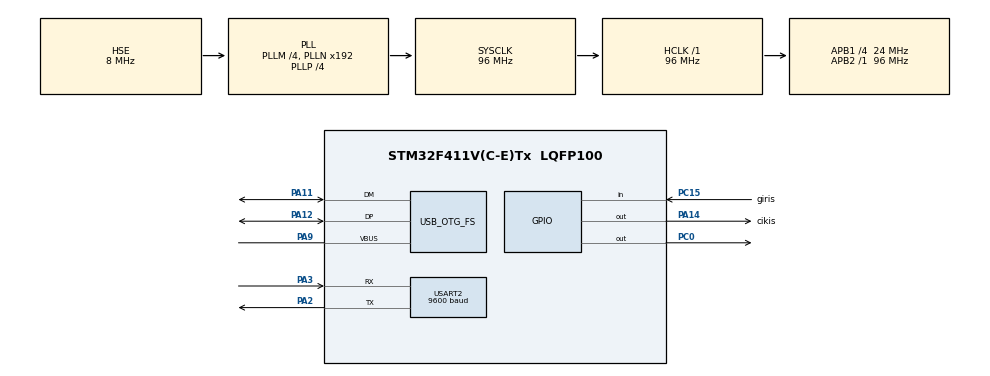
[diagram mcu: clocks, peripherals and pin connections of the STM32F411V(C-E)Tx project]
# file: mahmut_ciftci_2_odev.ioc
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FATFS._FS_EXFAT=1
FATFS._MAX_SS=4096
FATFS._USE_LFN=1
Mcu.Family=STM32F4
Mcu.Name=STM32F411V(C-E)Tx
Mcu.Package=LQFP100
NVIC.OTG_FS_IRQn=true\:0\:0\:false\:false\:true\:true\:true
NVIC.PriorityGroup=NVIC_PRIORITYGROUP_0
PA11.Mode=Host_Only
PA11.Signal=USB_OTG_FS_DM
PA12.Mode=Host_Only
PA12.Signal=USB_OTG_FS_DP
PA14.GPIO_Label=cikis
PA14.Signal=GPIO_Output
PA2.Mode=Asynchronous
PA2.Signal=USART2_TX
PA3.Mode=Asynchronous
PA3.Signal=USART2_RX
PA9.Mode=Activate_VBUS
PA9.Signal=USB_OTG_FS_VBUS
PC0.Signal=GPIO_Output
PC15-OSC32_OUT.GPIO_Label=giris
PC15-OSC32_OUT.Signal=GPIO_Input
PH0\ -\ OSC_IN.Mode=HSE-External-Oscillator
PH0\ -\ OSC_IN.Signal=RCC_OSC_IN
PH1\ -\ OSC_OUT.Mode=HSE-External-Oscillator
PH1\ -\ OSC_OUT.Signal=RCC_OSC_OUT
ProjectManager.HeapSize=0x200
ProjectManager.StackSize=0x400
ProjectManager.TargetToolchain=STM32CubeIDE
RCC.48MHZClocksFreq_Value=48000000
RCC.AHBFreq_Value=96000000
RCC.APB1CLKDivider=RCC_HCLK_DIV4
RCC.APB1Freq_Value=24000000
RCC.APB1TimFreq_Value=48000000
RCC.APB2Freq_Value=96000000
RCC.APB2TimFreq_Value=96000000
RCC.CortexFreq_Value=96000000
RCC.HCLKFreq_Value=96000000
RCC.HSE_VALUE=8000000
RCC.HSI_VALUE=16000000
RCC.PLLI2SM=5
RCC.PLLI2SN=200
RCC.PLLM=4
RCC.PLLP=RCC_PLLP_DIV4
RCC.PLLQ=8
RCC.SYSCLKFreq_VALUE=96000000
RCC.SYSCLKSource=RCC_SYSCLKSOURCE_PLLCLK
RCC.VCOOutputFreq_Value=384000000
USART2.BaudRate=9600
USART2.VirtualMode=VM_ASYNC
USB_HOST.BSP.number=1
USB_HOST.USBH_HandleTypeDef=hUsbHostFS
USB_HOST.VirtualModeFS=Msc
USB_HOST0.BSP.STBoard=false
USB_HOST0.BSP.api=Unknown
USB_HOST0.BSP.i2caddr=0
USB_HOST0.BSP.i2creg=0
USB_HOST0.BSP.instance=PC0
USB_HOST0.BSP.ip=GPIO
USB_HOST0.BSP.mode=Output
USB_HOST0.BSP.name=Drive_VBUS_FS
USB_HOST0.BSP.solution=PC0
USB_OTG_FS.VirtualMode=Host_Only
USB_OTG_FS.phy_itface=HCD_PHY_EMBEDDED
VP_FATFS_VS_USB.Mode=USB
VP_USB_HOST_VS_USB_HOST_MSC_FS.Mode=MSC_FS
board=STM32F411E-DISCO

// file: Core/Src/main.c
/* USER CODE BEGIN Header */
/**
  ******************************************************************************
  * @file           : main.c
  * @brief          : Main program body
  ******************************************************************************
  * @attention
  *
  * <h2><center>&copy; Copyright (c) 2023 STMicroelectronics.
  * All rights reserved.</center></h2>
  *
  * This software component is licensed by ST under Ultimate Liberty license
  * SLA0044, the "License"; You may not use this file except in compliance with
  * the License. You may obtain a copy of the License at:
  *                             www.st.com/SLA0044
  *
  ******************************************************************************
  */
/* USER CODE END Header */

#include "main.h"
#include "fatfs.h"
#include "usb_host.h"

UART_HandleTypeDef huart2;

void SystemClock_Config(void);
static void MX_GPIO_Init(void);
static void MX_USART2_UART_Init(void);
void MX_USB_HOST_Process(void);

/* USER CODE BEGIN PFP */
char veri[];
char gelen_veri[];
int binary = 0 ;
int binary_input = 0;
int b1,b2,b3,b4
	,b5,b6,b7,b8;  // output binary değişkenleri
int g1,g2,g3,g4
	,g5,g6,g7,g8; // input binary değişkenleri
int gelen;

/* USER CODE END PFP */

int main(void)
{

  /* MCU Configuration--------------------------------------------------------*/

  /* Reset of all peripherals, Initializes the Flash interface and the Systick. */
  HAL_Init();

  /* Configure the system clock */
  SystemClock_Config();

  /* Initialize all configured peripherals */
  MX_GPIO_Init();
  MX_USB_HOST_Init();
  MX_USART2_UART_Init();
  MX_FATFS_Init();

  /* Infinite loop */
  while (1)
  {
    MX_USB_HOST_Process();

    /* USER CODE BEGIN 3 */
       binary = veri[0];
       b1 = binary/128;
       if(b1==1){
    	   HAL_GPIO_WritePin(GPIOA, cikis_Pin, GPIO_PIN_SET);

       	}else if(b1==0){
       		HAL_GPIO_WritePin(GPIOA, cikis_Pin, GPIO_PIN_RESET);

       	}
       gelen = HAL_GPIO_ReadPin(GPIOC, giris_Pin);
       g1 = gelen*128;

       for(int i = 0 ; i < 5000 ; i++){

       	}
       b2 = (binary-(b1*128))/64 ;
       if(b2==1){
    	   HAL_GPIO_WritePin(GPIOA, cikis_Pin, GPIO_PIN_SET);

              	}else if(b2==0){
              		HAL_GPIO_WritePin(GPIOA, cikis_Pin, GPIO_PIN_RESET);

              	}
       gelen = HAL_GPIO_ReadPin(GPIOC, giris_Pin);
       g2 = gelen*64;
       for(int i = 0 ; i < 5000 ; i++){

       	}
       b3 = (binary-(b1*128)-(b2*64))/32;
       if(b3==1){
    	   HAL_GPIO_WritePin(GPIOA, cikis_Pin, GPIO_PIN_SET);

             	}else if(b3==0){
             		HAL_GPIO_WritePin(GPIOA, cikis_Pin, GPIO_PIN_RESET);

             	}

       gelen = HAL_GPIO_ReadPin(GPIOC, giris_Pin);
       g3 = gelen*32;
       for(int i = 0 ; i < 5000 ; i++){

       	}
       b4 = (binary-(b1*128)-(b2*64)-(b3*32))/16;
       if(b4==1){
    	   HAL_GPIO_WritePin(GPIOA, cikis_Pin, GPIO_PIN_SET);

             	}else if(b4==0){
             		HAL_GPIO_WritePin(GPIOA, cikis_Pin, GPIO_PIN_RESET);

             	}

       gelen = HAL_GPIO_ReadPin(GPIOC, giris_Pin);
       g4 = gelen*16;
       for(int i = 0 ; i < 5000 ; i++){

       	}
       b5 = (binary-(b1*128)-(b2*64)-(b3*32)-(b4*16))/8;
       if(b5==1){
    	   HAL_GPIO_WritePin(GPIOA, cikis_Pin, GPIO_PIN_SET);

             	}else if(b5==0){
             		HAL_GPIO_WritePin(GPIOA, cikis_Pin, GPIO_PIN_RESET);

             	}

       gelen = HAL_GPIO_ReadPin(GPIOC, giris_Pin);
       g5= gelen*8;
       for(int i = 0 ; i < 5000 ; i++){

       	}
       b6 = (binary-(b1*128)-(b2*64)-(b3*32)-(b4*16)-(b5*8))/4;
       if(b6==1){
    	   HAL_GPIO_WritePin(GPIOA, cikis_Pin, GPIO_PIN_SET);

             	}else if(b6==0){
             		HAL_GPIO_WritePin(GPIOA, cikis_Pin, GPIO_PIN_RESET);

             	}

       gelen = HAL_GPIO_ReadPin(GPIOC, giris_Pin);
       g6 = gelen*4;
       for(int i = 0 ; i < 5000 ; i++){

       	}
       b7 = (binary-(b1*128)-(b2*64)-(b3*32)-(b4*16)-(b5*8)-(b6*4))/2;
       if(b7==1){
    	   HAL_GPIO_WritePin(GPIOA, cikis_Pin, GPIO_PIN_SET);

             	}else if(b7==0){
             		HAL_GPIO_WritePin(GPIOA, cikis_Pin, GPIO_PIN_RESET);

             	}

       gelen = HAL_GPIO_ReadPin(GPIOC, giris_Pin);
       g7 = gelen*2;
       for(int i = 0 ; i < 5000 ; i++){

       	}
       b8 = binary-(b1*128)-(b2*64)-(b3*32)-(b4*16)-(b5*8)-(b6*4)-(b7*2);
       if(b8==1){
    	   HAL_GPIO_WritePin(GPIOA, cikis_Pin, GPIO_PIN_SET);

             	}else if(b8==0){
             		HAL_GPIO_WritePin(GPIOA, cikis_Pin, GPIO_PIN_RESET);

             	}

       gelen = HAL_GPIO_ReadPin(GPIOC, giris_Pin);
       g8 = gelen;
       for(int i = 0 ; i < 5000 ; i++){

       	}
       binary_input = g1+g2+g3+g4+g5+g6+g7+g8;
       gelen_veri[0] = binary_input;
       for(int i = 0 ; i < 5000 ; i++){

       	}
  }
  /* USER CODE END 3 */
}

void SystemClock_Config(void)
{
  RCC_OscInitTypeDef RCC_OscInitStruct = {0};
  RCC_ClkInitTypeDef RCC_ClkInitStruct = {0};

  /** Configure the main internal regulator output voltage
  */
  __HAL_RCC_PWR_CLK_ENABLE();
  __HAL_PWR_VOLTAGESCALING_CONFIG(PWR_REGULATOR_VOLTAGE_SCALE1);
  /** Initializes the CPU, AHB and APB busses clocks
  */
  RCC_OscInitStruct.OscillatorType = RCC_OSCILLATORTYPE_HSE;
  RCC_OscInitStruct.HSEState = RCC_HSE_ON;
  RCC_OscInitStruct.PLL.PLLState = RCC_PLL_ON;
  RCC_OscInitStruct.PLL.PLLSource = RCC_PLLSOURCE_HSE;
  RCC_OscInitStruct.PLL.PLLM = 4;
  RCC_OscInitStruct.PLL.PLLN = 192;
  RCC_OscInitStruct.PLL.PLLP = RCC_PLLP_DIV4;
  RCC_OscInitStruct.PLL.PLLQ = 8;
  if (HAL_RCC_OscConfig(&RCC_OscInitStruct) != HAL_OK)
  {
    Error_Handler();
  }
  /** Initializes the CPU, AHB and APB busses clocks
  */
  RCC_ClkInitStruct.ClockType = RCC_CLOCKTYPE_HCLK|RCC_CLOCKTYPE_SYSCLK
                              |RCC_CLOCKTYPE_PCLK1|RCC_CLOCKTYPE_PCLK2;
  RCC_ClkInitStruct.SYSCLKSource = RCC_SYSCLKSOURCE_PLLCLK;
  RCC_ClkInitStruct.AHBCLKDivider = RCC_SYSCLK_DIV1;
  RCC_ClkInitStruct.APB1CLKDivider = RCC_HCLK_DIV4;
  RCC_ClkInitStruct.APB2CLKDivider = RCC_HCLK_DIV1;

  if (HAL_RCC_ClockConfig(&RCC_ClkInitStruct, FLASH_LATENCY_3) != HAL_OK)
  {
    Error_Handler();
  }
}

static void MX_USART2_UART_Init(void)
{

  huart2.Instance = USART2;
  huart2.Init.BaudRate = 9600;
  huart2.Init.WordLength = UART_WORDLENGTH_8B;
  huart2.Init.StopBits = UART_STOPBITS_1;
  huart2.Init.Parity = UART_PARITY_NONE;
  huart2.Init.Mode = UART_MODE_TX_RX;
  huart2.Init.HwFlowCtl = UART_HWCONTROL_NONE;
  huart2.Init.OverSampling = UART_OVERSAMPLING_16;
  if (HAL_UART_Init(&huart2) != HAL_OK)
  {
    Error_Handler();
  }

}

static void MX_GPIO_Init(void)
{
  GPIO_InitTypeDef GPIO_InitStruct = {0};

  /* GPIO Ports Clock Enable */
  __HAL_RCC_GPIOC_CLK_ENABLE();
  __HAL_RCC_GPIOH_CLK_ENABLE();
  __HAL_RCC_GPIOA_CLK_ENABLE();

  /*Configure GPIO pin Output Level */
  HAL_GPIO_WritePin(GPIOC, GPIO_PIN_0, GPIO_PIN_RESET);

  /*Configure GPIO pin Output Level */
  HAL_GPIO_WritePin(cikis_GPIO_Port, cikis_Pin, GPIO_PIN_RESET);

  /*Configure GPIO pin : giris_Pin */
  GPIO_InitStruct.Pin = giris_Pin;
  GPIO_InitStruct.Mode = GPIO_MODE_INPUT;
  GPIO_InitStruct.Pull = GPIO_NOPULL;
  HAL_GPIO_Init(giris_GPIO_Port, &GPIO_InitStruct);

  /*Configure GPIO pin : PC0 */
  GPIO_InitStruct.Pin = GPIO_PIN_0;
  GPIO_InitStruct.Mode = GPIO_MODE_OUTPUT_PP;
  GPIO_InitStruct.Pull = GPIO_NOPULL;
  GPIO_InitStruct.Speed = GPIO_SPEED_FREQ_LOW;
  HAL_GPIO_Init(GPIOC, &GPIO_InitStruct);

  /*Configure GPIO pin : cikis_Pin */
  GPIO_InitStruct.Pin = cikis_Pin;
  GPIO_InitStruct.Mode = GPIO_MODE_OUTPUT_PP;
  GPIO_InitStruct.Pull = GPIO_NOPULL;
  GPIO_InitStruct.Speed = GPIO_SPEED_FREQ_LOW;
  HAL_GPIO_Init(cikis_GPIO_Port, &GPIO_InitStruct);

}

void Error_Handler(void)
{
}

/************************ (C) COPYRIGHT STMicroelectronics *****END OF FILE****/
